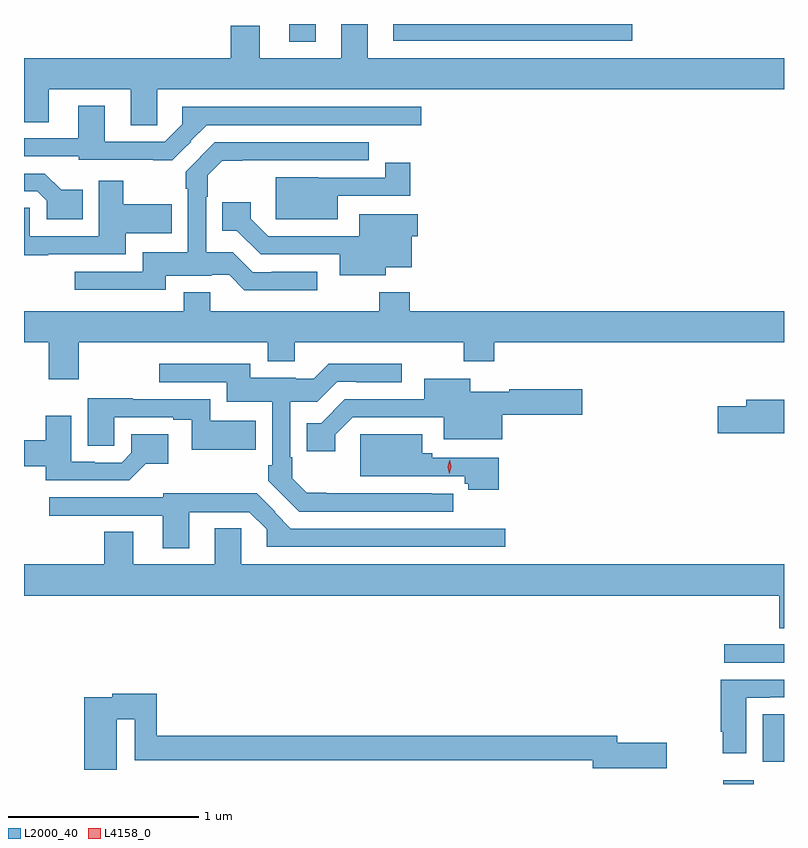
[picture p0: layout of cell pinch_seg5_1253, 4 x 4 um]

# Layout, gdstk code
import gdstk
lib = gdstk.Library(unit=1e-6, precision=1e-09)
def R(c, l, rs):  # rectangles x0, y0, x1, y1
    for r in rs: c.add(gdstk.rectangle(r[:2], r[2:], *l))
def P(c, l, *ps):  # polygons
    for p in ps: c.add(gdstk.Polygon(p, *l))
L2000_40 = (2000, 40)
L4158_0 = (4158, 0)

pinch_seg5_1253 = lib.new_cell('pinch_seg5_1253')
R(pinch_seg5_1253, L2000_40, [(460.847,838.452,461.007,838.471), (461.054,838.57,461.166,838.82), (460.851,839.091,461.166,839.187), (458.561,842.358,458.701,842.452), (459.109,842.364,460.366,842.452)])
P(pinch_seg5_1253, L2000_40, [(457.866,842.108),(461.166,842.108),(461.166,842.272),(458.976,842.272),(458.976,842.452),(458.837,842.452),(458.837,842.272),(458.407,842.272),(458.407,842.444),(458.255,842.444),(458.255,842.272),(457.166,842.272),(457.166,841.936),(457.297,841.936),(457.297,842.108),(457.727,842.108),(457.727,841.918),(457.866,841.918)],
  [(458.005,841.792),(458.045,841.832),(458.042,841.835),(458.127,841.92),(459.256,841.92),(459.256,842.016),(457.999,842.016),(457.999,841.924),(457.908,841.833),(457.591,841.833),(457.591,842.023),(457.451,842.023),(457.451,841.851),(457.166,841.851),(457.166,841.755),(457.455,841.755),(457.455,841.737),(457.847,841.737),(457.847,841.735),(457.947,841.735)],
  [(458.71,841.149),(458.47,841.149),(458.47,841.146),(458.37,841.146),(458.265,841.251),(458.124,841.251),(458.124,841.544),(458.134,841.544),(458.134,841.656),(458.21,841.732),(458.314,841.732),(458.314,841.734),(458.98,841.734),(458.98,841.83),(458.171,841.83),(458.016,841.675),(458.016,841.586),(458.028,841.586),(458.028,841.252),(457.79,841.252),(457.79,841.149),(457.434,841.149),(457.434,841.053),(457.912,841.053),(457.912,841.127),(458.153,841.127),(458.153,841.131),(458.247,841.131),(458.326,841.052),(458.71,841.052)],
  [(458.818,841.548),(459.199,841.548),(459.199,841.723),(459.068,841.723),(459.068,841.644),(458.714,841.644),(458.714,841.645),(458.492,841.645),(458.492,841.424),(458.818,841.424)],
  [(457.474,841.579),(457.362,841.579),(457.276,841.665),(457.166,841.665),(457.166,841.572),(457.236,841.572),(457.287,841.521),(457.287,841.424),(457.474,841.424)],
  [(457.294,841.239),(457.702,841.239),(457.702,841.352),(457.943,841.352),(457.943,841.504),(457.689,841.504),(457.689,841.627),(457.559,841.627),(457.559,841.335),(457.197,841.335),(457.197,841.484),(457.166,841.484),(457.166,841.234),(457.294,841.234)],
  [(459.07,841.172),(459.208,841.172),(459.208,841.336),(459.238,841.336),(459.238,841.45),(458.93,841.45),(458.93,841.335),(458.451,841.335),(458.359,841.427),(458.359,841.513),(458.209,841.513),(458.209,841.364),(458.286,841.364),(458.411,841.239),(458.828,841.239),(458.828,841.13),(459.07,841.13)],
  [(457.166,840.776),(457.295,840.776),(457.295,840.582),(457.455,840.582),(457.455,840.776),(458.45,840.776),(458.45,840.677),(458.59,840.677),(458.59,840.776),(459.481,840.776),(459.481,840.677),(459.641,840.677),(459.641,840.776),(461.166,840.776),(461.166,840.94),(459.197,840.94),(459.197,841.039),(459.037,841.039),(459.037,840.94),(458.146,840.94),(458.146,841.039),(458.006,841.039),(458.006,840.94),(457.166,840.94)],
  [(459.424,839.98),(459.311,839.98),(459.311,839.982),(458.758,839.982),(458.758,839.985),(458.654,839.985),(458.578,840.06),(458.578,840.172),(458.568,840.172),(458.568,840.465),(458.709,840.465),(458.814,840.57),(458.914,840.57),(458.914,840.567),(459.154,840.567),(459.154,840.664),(458.77,840.664),(458.691,840.585),(458.597,840.585),(458.597,840.589),(458.356,840.589),(458.356,840.663),(457.878,840.663),(457.878,840.567),(458.234,840.567),(458.234,840.464),(458.472,840.464),(458.472,840.13),(458.452,840.13),(458.452,840.049),(458.615,839.886),(459.424,839.886)],
  [(458.803,840.289),(458.895,840.381),(459.374,840.381),(459.374,840.266),(459.682,840.266),(459.682,840.395),(460.105,840.395),(460.105,840.529),(459.72,840.529),(459.72,840.517),(459.514,840.517),(459.514,840.586),(459.272,840.586),(459.272,840.477),(458.855,840.477),(458.73,840.352),(458.653,840.352),(458.653,840.204),(458.803,840.204)],
  [(458.387,840.364),(458.145,840.364),(458.145,840.477),(457.738,840.477),(457.738,840.482),(457.502,840.482),(457.502,840.232),(457.641,840.232),(457.641,840.381),(457.952,840.381),(457.952,840.369),(458.049,840.369),(458.049,840.212),(458.387,840.212)],
  [(461.166,840.475),(460.967,840.475),(460.967,840.441),(460.818,840.441),(460.818,840.299),(461.166,840.299)],
  [(457.806,840.137),(457.924,840.137),(457.924,840.292),(457.731,840.292),(457.731,840.195),(457.68,840.144),(457.538,840.144),(457.538,840.147),(457.414,840.147),(457.414,840.391),(457.28,840.391),(457.28,840.26),(457.166,840.26),(457.166,840.124),(457.28,840.124),(457.28,840.051),(457.72,840.051)],
  [(459.665,840.168),(459.315,840.168),(459.315,840.193),(459.262,840.193),(459.262,840.292),(458.936,840.292),(458.936,840.071),(459.158,840.071),(459.158,840.072),(459.485,840.072),(459.485,840.033),(459.504,840.033),(459.504,840.002),(459.665,840.002)],
  [(458.035,839.883),(458.352,839.883),(458.443,839.793),(458.443,839.7),(459.7,839.7),(459.7,839.796),(458.571,839.796),(458.486,839.881),(458.489,839.884),(458.391,839.982),(457.899,839.982),(457.899,839.961),(457.299,839.961),(457.299,839.865),(457.895,839.865),(457.895,839.694),(458.035,839.694)],
  [(461.166,839.608),(458.31,839.608),(458.31,839.798),(458.171,839.798),(458.171,839.608),(457.741,839.608),(457.741,839.78),(457.589,839.78),(457.589,839.608),(457.166,839.608),(457.166,839.444),(461.141,839.444),(461.141,839.272),(461.166,839.272)],
  [(460.966,838.905),(461.09,838.905),(461.09,838.908),(461.166,838.908),(461.166,839.001),(460.832,839.001),(460.832,838.726),(460.844,838.726),(460.844,838.614),(460.966,838.614)],
  [(457.654,838.792),(457.749,838.792),(457.749,838.578),(460.16,838.578),(460.16,838.535),(460.549,838.535),(460.549,838.67),(460.288,838.67),(460.288,838.706),(457.865,838.706),(457.865,838.928),(457.63,838.928),(457.63,838.908),(457.484,838.908),(457.484,838.527),(457.654,838.527)])
P(pinch_seg5_1253, L4158_0, [(459.404,840.086),(459.396,840.122),(459.406,840.158),(459.406,840.158),(459.407,840.158),(459.415,840.122),(459.405,840.086),(459.405,840.086)])

lib.write_gds('pinch_seg5_1253.gds')
